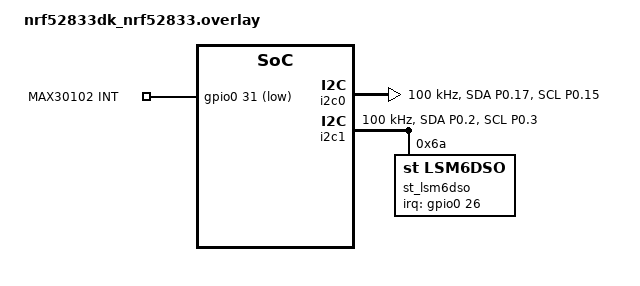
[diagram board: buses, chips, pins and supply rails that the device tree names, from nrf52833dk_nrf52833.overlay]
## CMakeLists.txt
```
cmake_minimum_required(VERSION 3.20.0)
find_package(Zephyr REQUIRED HINTS $ENV{ZEPHYR_BASE})

project(StepTrackerProject)

set(ST_SENSOR_DRIVER_DIR ${ZEPHYR_HAL_ST_MODULE_DIR}/sensor/stmemsc/lsm6dso_STdC/driver)

message(${ST_SENSOR_DRIVER_DIR})

target_sources(app PRIVATE src/main.c
    src/ao_events.h src/ao_events.c
    src/active_object.h src/active_object.c 
    src/ble_ao.h src/ble_ao.c
    src/imu_ao.h src/imu_ao.c
    src/lsm6dso_shim.h src/lsm6dso_shim.c
    src/ble_pedometer_srv.h src/ble_pedometer_srv.c
    src/hrm_ao.h src/hrm_ao.c
    src/max30102.h src/max30102.c
)

target_include_directories(app PRIVATE
    ${ST_SENSOR_DRIVER_DIR}
)
```

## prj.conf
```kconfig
CONFIG_STDOUT_CONSOLE=y
CONFIG_I2C=y
CONFIG_SENSOR=y
CONFIG_LSM6DSO_TRIGGER_GLOBAL_THREAD=y
CONFIG_CBPRINTF_FP_SUPPORT=y
CONFIG_SHELL=y
CONFIG_I2C_SHELL=y
CONFIG_LSM6DSO=y
CONFIG_LOG=y
# CONFIG_ADC=y for future battery pct read

CONFIG_THREAD_NAME=y
CONFIG_MULTITHREADING=y
# CONFIG_THREAD_MONITOR=y
# CONFIG_THREAD_ANALYZER=y
# CONFIG_THREAD_ANALYZER_USE_LOG=y
CONFIG_LOG_THREAD_ID_PREFIX=y


# BLE
CONFIG_BT=y
CONFIG_BT_SMP=y
CONFIG_BT_PERIPHERAL=y
CONFIG_BT_DIS=y
CONFIG_BT_DIS_PNP=n
CONFIG_BT_BAS=y
# CONFIG_BT_HRS=y
CONFIG_BT_DEVICE_NAME="Tas_Pedometer"
CONFIG_BT_DEVICE_APPEARANCE=833
```

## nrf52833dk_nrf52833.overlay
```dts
/{
    aliases {
        imu =  &st_lsm6dso;
    };
    gpios {
        compatible = "gpio-keys";
        max30102_int: max30102_int {
            gpios = <&gpio0 31 (GPIO_ACTIVE_LOW | GPIO_PULL_UP)>;
            label = "MAX30102 INT";
        };
    };
};

&pinctrl {
    i2c0_default: i2c0_default {
        group1 {
            psels = <NRF_PSEL(TWIM_SDA, 0, 17)>,
                    <NRF_PSEL(TWIM_SCL, 0, 15)>;
            bias-pull-up;
        };
    };

    i2c0_sleep: i2c0_sleep {
        group1 {
            psels = <NRF_PSEL(TWIM_SDA, 0, 17)>,
                    <NRF_PSEL(TWIM_SCL, 0, 15)>;
            low-power-enable;
        };
    };
    i2c1_default: i2c1_default {
        group1 {
            psels = <NRF_PSEL(TWIM_SDA, 0, 2)>,
                    <NRF_PSEL(TWIM_SCL, 0, 3)>;
            bias-pull-up;
        };
    };

    i2c1_sleep: i2c1_sleep {
        group1 {
            psels = <NRF_PSEL(TWIM_SDA, 0, 2)>,
                    <NRF_PSEL(TWIM_SCL, 0, 3)>;
            low-power-enable;
        };
    };
};

&i2c0 {
    status = "okay";
    clock-frequency = <I2C_BITRATE_STANDARD>;
    pinctrl-0 = <&i2c0_default>;
    pinctrl-1 = <&i2c0_sleep>;
    pinctrl-names = "default", "sleep";
    compatible = "nordic,nrf-twim";
        
};

&i2c1 {
    status = "okay";
    clock-frequency = <I2C_BITRATE_STANDARD>;
    pinctrl-0 = <&i2c1_default>;
    pinctrl-1 = <&i2c1_sleep>;
    pinctrl-names = "default", "sleep";
    compatible = "nordic,nrf-twim";  
    st_lsm6dso: lsm6dso@6a {
		compatible = "st,lsm6dso";
		reg = <0x6a>;
		status = "okay";
        irq-gpios = <&gpio0 26 GPIO_ACTIVE_HIGH>;
        int-pin = <1>;  
    };
};

&spi0 {
    status="disabled";
};
&spi1 {
    status="disabled";
};
```

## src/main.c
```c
#include <zephyr/kernel.h>
#include "ble_ao.h"
#include "imu_ao.h"
#include "hrm_ao.h"

LOG_MODULE_REGISTER(main, LOG_LEVEL_DBG);

int main(void)
{
    LOG_DBG("Initializing from main.");
    // ble_ao_init();
    // imu_ao_init();
    hrm_ao_init();
	return 0;
}
```

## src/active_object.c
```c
#include "active_object.h"

LOG_MODULE_REGISTER(common_ao, LOG_LEVEL_DBG);

void thread_entry(void *p1, void *p2, void *p3) {
    ARG_UNUSED(p2);
    ARG_UNUSED(p3);
    LOG_INF("Spooling up thread.");
    active_object *ao = (active_object *) p1;
    ao_event evt;
    while (1) {
        k_msgq_get(&ao->queue, &evt, K_FOREVER);
        LOG_DBG("Message rec'd on %s AO thread. Evt ID: %d", k_thread_name_get(k_current_get()), evt.id);
        ao->dispatch(ao, &evt);
    }
}

void active_object_init(active_object *self, dispatch_func dispatch, int thread_prio, k_thread_stack_t *stack, size_t stack_size, uint8_t *buf, size_t queue_msg_size, int id) {
    LOG_INF("Initializing active object.");
    self->dispatch = dispatch;
    k_msgq_init(&self->queue, buf, queue_msg_size, MAX_QUEUE_MSGS);
    k_thread_create(&self->thread, stack, stack_size, &thread_entry, self, NULL, NULL, thread_prio, 0, K_NO_WAIT);
    self->id = id;
}

void ao_post(active_object *self, const ao_event *evt) {
    int ret = k_msgq_put(&self->queue, evt, K_NO_WAIT);
    if (ret != 0) {
        LOG_ERR("Failed to put message for object %s", k_thread_name_get(k_current_get()));
    }
}
```

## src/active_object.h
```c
#pragma once

#include <zephyr/kernel.h>
#include <zephyr/logging/log.h>

#define MAX_QUEUE_MSGS 10


typedef struct active_object_event {
    uint32_t id;
    uint32_t data;
} ao_event;

// function pointer to the active object's internal state machine dispatch func.
typedef void (*dispatch_func)(void *self, ao_event const *evt);

typedef struct active_object {
    int id; 
    k_tid_t tid; // easy access for use in zephyr threading api
    struct k_thread thread;
    struct k_msgq queue;
    dispatch_func dispatch;
    void *self;
} active_object;

void active_object_init(active_object *self,
                        dispatch_func dispatch,
                        int thread_prio,
                        k_thread_stack_t *stack,
                        size_t stack_size,
                        uint8_t *buf,
                        size_t queue_msg_size,
                        int id);

void ao_post(active_object *self, const ao_event *evt);
```

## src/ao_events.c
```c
#include "ao_events.h"

LOG_MODULE_REGISTER(ao_events, LOG_LEVEL_DBG);

static active_object *subscriptions[MAX_EVENTS][MAX_SUBSCRIPTIONS];
static int sub_count[MAX_EVENTS];

void ao_subscribe(active_object *self, ao_event_id evt_id) {
    // keep track of ao that is subscribed to this event.
    LOG_INF("EVENT ID %d", evt_id);
    subscriptions[evt_id][sub_count[evt_id]] = self;
    sub_count[evt_id]++;
}

void ao_unsubscribe(active_object *self, ao_event_id evt_id) {
    int cnt = sub_count[evt_id];
    for (int i = 0; i < cnt; i++) {
        if (subscriptions[evt_id][i] == self) {
            // swap with last and decrement, avoid array resizing.
            subscriptions[evt_id][i] = subscriptions[evt_id][cnt - 1];
            subscriptions[evt_id][cnt - 1] = NULL;
            sub_count[evt_id]--;
            return;
        }
    }
}

void ao_publish(const ao_event *evt) {
    int cnt = sub_count[evt->id];
    for (int i = 0; i < cnt; i++) {
        ao_post(subscriptions[evt->id][i], evt);
    } 
}
```

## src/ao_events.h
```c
#pragma once

#include "active_object.h"

#define MAX_SUBSCRIPTIONS 10

typedef enum {
    IMU_INIT_EVT = 0,
    IMU_DATA_READY,
    BLE_INIT_EVT,
    BLE_START_ADVERTISING_EVT,
    BLE_CONNECTED_EVT,
    BLE_DISCONNECTED_EVT,
    BLE_DATA_READY,
    HRM_INIT_EVT,
    HRM_DATA_READY,
    MAX_EVENTS
} ao_event_id;

typedef struct ao_subscription {
    active_object *ao;
    ao_event_id evt_id;
} ao_subscription_t;

void ao_subscribe(active_object *self, ao_event_id evt_id);
void ao_unsubscribe(active_object *self, ao_event_id evt_id);
void ao_publish(const ao_event *evt_id);
```

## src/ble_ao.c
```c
#include "ble_ao.h"

#define BLE_STACK_SIZE 1024
#define BLE_AO_THREAD_PRIO -1
#define DEV_NAME CONFIG_BT_DEVICE_NAME
#define DEV_NAME_LEN (sizeof(DEV_NAME)-1)

LOG_MODULE_REGISTER(ble_ao, LOG_LEVEL_DBG);

/*
Zephyr BLE Stack Setup
*/

static struct bt_conn *current_conn;

void on_connected(struct bt_conn *conn, uint8_t ret) {
    if (ret) {
        LOG_ERR("Connection error! Retval: %d", ret);
        return;
    }
    LOG_INF("BT Connected!");
    current_conn = bt_conn_ref(conn);
    ao_publish(&(ao_event) { .id = BLE_CONNECTED_EVT, .data = 1 });
}

void on_disconnected(struct bt_conn *conn, uint8_t reason) {
    LOG_INF("BT disconnected (reason: %d)", reason);
    if (current_conn) {
        bt_conn_unref(current_conn);
        current_conn = NULL;
    }
    ao_publish(&(ao_event) { .id = BLE_DISCONNECTED_EVT, .data = 1 });
}

BT_CONN_CB_DEFINE(bt_cbs) = {
    .connected = on_connected,
    .disconnected = on_disconnected
};

static const struct bt_data ad[] = {
    BT_DATA_BYTES(BT_DATA_FLAGS, (BT_LE_AD_GENERAL | BT_LE_AD_NO_BREDR)),
    BT_DATA(BT_DATA_NAME_COMPLETE, DEV_NAME, DEV_NAME_LEN)
};

int start_advertising(void) {
    int err = bt_le_adv_start(BT_LE_ADV_CONN_FAST_1, ad, ARRAY_SIZE(ad), NULL, 0);
    if (err) {
        LOG_ERR("Could not start advertising the device via BLE. Retval: %d", err);
    }
    return err;
}

static void bt_ready_cb(int err) {
    if (err) {
        LOG_ERR("bt_enable failed. Retval: %d", err);
        return;
    }
    ao_publish(&(ao_event) { .id = BLE_START_ADVERTISING_EVT, .data = 1 });
}

/* 
TODO - ADC for Battery voltage
*/


/*
Active Object
*/

K_THREAD_STACK_DEFINE(ble_stack, BLE_STACK_SIZE);
static ble_active_object ble_ao;

static uint8_t queue_buf[sizeof(ao_event) * MAX_QUEUE_MSGS];

void ble_ao_init(void) {
    LOG_INF("Initializing BLE AO.");

    ao_subscribe(&ble_ao.ao, BLE_INIT_EVT);
    ao_subscribe(&ble_ao.ao, BLE_START_ADVERTISING_EVT);
    ao_subscribe(&ble_ao.ao, BLE_CONNECTED_EVT);
    ao_subscribe(&ble_ao.ao, BLE_DISCONNECTED_EVT);
    ao_subscribe(&ble_ao.ao, BLE_DATA_READY);

    ble_ao.state = BLE_UNINITIALIZED_STATE;
    LOG_INF("After initial setting of state %d", ble_ao.state);

    active_object_init(&ble_ao.ao, &ble_ao_dispatch, BLE_AO_THREAD_PRIO, (k_thread_stack_t*)&ble_stack, K_THREAD_STACK_SIZEOF(ble_stack), queue_buf, sizeof(ao_event), 1);
    k_thread_name_set(&ble_ao.ao.thread, "ble_ao");

    ao_publish(&(const ao_event) { .id = BLE_INIT_EVT, .data = 1 });
}


void ble_ao_dispatch(void *self, ao_event const *evt) {
    ble_active_object *ao = (ble_active_object *) self;
    LOG_INF("ble state: %d. Event ID: %d", ao->state, evt->id);
    int err = 0;
    switch(ao->state) {
        case BLE_UNINITIALIZED_STATE:
            switch(evt->id) {
                case BLE_INIT_EVT:
                    err = bt_enable(bt_ready_cb);
                    if (err < 0) {
                        LOG_ERR("Failed to Initialize BT Stack. Err: %d", err);
                        return;
                    }
                    ao->state = BLE_INITIALIZING_STATE;
                    break;
                default:
                    LOG_ERR("Unrecognized event in BLE_UNINITIALIZED_STATE state. Event id: %d", evt->id);
                    break;
            }
            break;
        case BLE_INITIALIZING_STATE:
            switch (evt->id) {
                case BLE_START_ADVERTISING_EVT:
                    err = bt_bas_set_battery_level(100);
                    if (err) {
                        LOG_ERR("BAS set error (err = %d)", err);
                    }
                    err = start_advertising();
                    if (err < 0) {
                        LOG_ERR("Failed to start advertising. Err: %d", err);
                        return;
                    }
                    ao->state = BLE_ADVERTISING_STATE;
                    break;
                case BLE_DATA_READY:
                    LOG_INF("Updating steps");
                    update_steps(evt->data);
                    break;
                default:
                    LOG_ERR("Unrecognized event in BLE_INITIALIZING_STATE state. Event id: %d", evt->id);
            }
            break;
        case BLE_ADVERTISING_STATE:
            switch (evt->id) {
                case BLE_CONNECTED_EVT:
                    ao->state = BLE_CONNECTED_STATE;
                    break;
                case BLE_DATA_READY:
                    LOG_INF("Updating steps");
                    update_steps(evt->data);
                    break;
                default:
                    LOG_ERR("Unrecognized event in BLE_ADVERTISING_STATE state. Event id: %d", evt->id);
            }
            break;
        case BLE_CONNECTED_STATE:
            switch (evt->id) {
                case BLE_DISCONNECTED_EVT:
                    err = start_advertising();
                    if (err < 0) {
                        LOG_ERR("Failed to start advertising. Err: %d", err);
                        return;
                    }
                    ao->state = BLE_ADVERTISING_STATE;
                    break;
                case BLE_DATA_READY:
                    LOG_INF("Updating steps");
                    update_steps(evt->data);
                    break;
                default:
                    LOG_ERR("Unrecognized event in BLE_CONNECTED_STATE state. Event id: %d", evt->id);
            }
            break;
        default: 
            LOG_ERR("Ble AO is not in a valid state. State: %d", ao->state);
    }
}
```

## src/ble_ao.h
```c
#pragma once

#include <zephyr/logging/log.h>
// #include <zephyr/drivers/adc.h> // used for battery voltage
#include "active_object.h"
#include "ao_events.h"
#include "ble_pedometer_srv.h"

typedef enum {
    BLE_UNINITIALIZED_STATE = 1,
    BLE_INITIALIZING_STATE,
    BLE_ADVERTISING_STATE,
    BLE_CONNECTED_STATE
} ble_state;

typedef struct ble_active_object {
    active_object ao;
    int id;
    ble_state state;
    // add other stuff here
} ble_active_object;

void ble_ao_init(void);
void ble_ao_dispatch(void *self, ao_event const *evt);
int start_advertising(void);
```

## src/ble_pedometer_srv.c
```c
#include "ble_pedometer_srv.h"

LOG_MODULE_REGISTER(ble_service, LOG_LEVEL_DBG);

static atomic_t step_count;
static atomic_t cadence_spm;
static uint32_t dummy_buf1;
static uint32_t dummy_buf2;

static atomic_t notify_step_count;
static atomic_t notify_cadence;

static void step_count_ccc_changed_cb(const struct bt_gatt_attr *attr, uint16_t value) {
    atomic_set(&notify_step_count, (value == BT_GATT_CCC_NOTIFY));
}
static void cadence_ccc_changed_cb(const struct bt_gatt_attr *attr, uint16_t value) {
    atomic_set(&notify_cadence, (value == BT_GATT_CCC_NOTIFY));
}

static ssize_t read_step_count(struct bt_conn *conn,
                               const struct bt_gatt_attr *attr,
                               void *buf, uint16_t len, uint16_t offset)
{
    uint32_t steps = (uint32_t)atomic_get(&step_count);
    return bt_gatt_attr_read(conn, attr, buf, len, offset,
                             &steps, sizeof(steps));
}

static ssize_t read_cadence(struct bt_conn *conn,
                             const struct bt_gatt_attr *attr,
                             void *buf, uint16_t len, uint16_t offset)
{
    uint32_t cadence = (uint32_t)atomic_get(&cadence_spm);
    return bt_gatt_attr_read(conn, attr, buf, len, offset,
                             &cadence, sizeof(cadence));
}

BT_GATT_SERVICE_DEFINE(pedometer_service,
	BT_GATT_PRIMARY_SERVICE(BT_UUID_PEDOMETER_SERVICE),
	BT_GATT_CHARACTERISTIC(BT_UUID_STEP_COUNT,
					BT_GATT_CHRC_READ | BT_GATT_CHRC_NOTIFY,
					BT_GATT_PERM_READ,
					read_step_count, NULL, &dummy_buf1),
	BT_GATT_CCC(step_count_ccc_changed_cb, BT_GATT_PERM_READ | BT_GATT_PERM_WRITE),
	BT_GATT_CHARACTERISTIC(BT_UUID_CADENCE,
					BT_GATT_CHRC_READ | BT_GATT_CHRC_NOTIFY,
					BT_GATT_PERM_READ,
					read_cadence, NULL, &dummy_buf2),
	BT_GATT_CCC(cadence_ccc_changed_cb, BT_GATT_PERM_READ | BT_GATT_PERM_WRITE)
);

void ble_pedometer_notify(struct bt_conn *conn, uint32_t steps, uint16_t cadence) {
    atomic_set(&step_count, (atomic_val_t)steps);
    atomic_set(&cadence_spm, (atomic_val_t)cadence);

    if (!(bool)atomic_get(&notify_step_count) || !conn) {
        return;
    }
    LOG_WRN("Notifying steps, %d", steps);
    // attrs[2] = step count characteristic
    int err = bt_gatt_notify(conn,
                             &pedometer_service.attrs[2],
                             &steps,
                             sizeof(steps));
    if (err) {
        LOG_WRN("Step notify failed (err %d)", err);
    }
    if (!(bool)atomic_get(&notify_cadence) || !conn) {
        return;
    }
    // attrs[5] = cadence characteristic
    err = bt_gatt_notify(conn,
                   &pedometer_service.attrs[5],
                   &cadence,
                   sizeof(cadence));
    if (err) {
        LOG_WRN("Cadence notify failed (err %d)", err);
    }
}

// keep steps up to date, regardless of whether we are notifying or not.
void update_steps(uint32_t steps) {
    atomic_set(&step_count, (atomic_val_t)steps);
}

void update_cadence(uint32_t cadence) {
    atomic_set(&cadence_spm, (atomic_val_t)cadence);
}
```

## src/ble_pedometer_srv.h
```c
#pragma once

#include <zephyr/kernel.h>
#include <zephyr/bluetooth/bluetooth.h>
#include <zephyr/bluetooth/hci.h>
#include <zephyr/bluetooth/conn.h>
#include <zephyr/bluetooth/uuid.h>
#include <zephyr/bluetooth/gatt.h>
#include <zephyr/bluetooth/services/bas.h>
// #include <zephyr/bluetooth/services/hrs.h>
#include <zephyr/logging/log.h>
#include <zephyr/sys/atomic.h>

// service UUID
#define BT_UUID_PEDOMETER_VALUE BT_UUID_128_ENCODE(0x7387ecd8, 0x012b, 0x4e95, 0x93b9, 0x995d1244b057)

// Step count characteristic
#define BT_UUID_STEP_COUNT_VALUE BT_UUID_128_ENCODE(0x5d6029fc, 0x6696, 0x4232, 0x8e7e, 0x73272edde04d)

// Cadence characteristic
#define BT_UUID_CADENCE_VALUE BT_UUID_128_ENCODE(0x76a115e1, 0x8774, 0x4c1b, 0xb305, 0x69efcc2ab8c6)

#define BT_UUID_PEDOMETER_SERVICE   BT_UUID_DECLARE_128(BT_UUID_PEDOMETER_VALUE)
#define BT_UUID_STEP_COUNT          BT_UUID_DECLARE_128(BT_UUID_STEP_COUNT_VALUE)
#define BT_UUID_CADENCE             BT_UUID_DECLARE_128(BT_UUID_CADENCE_VALUE)

void ble_pedometer_notify(struct bt_conn *conn, uint32_t steps, uint16_t cadence);
void update_steps(uint32_t steps);
void update_cadence(uint32_t cadence);
```

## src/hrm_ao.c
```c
#include "hrm_ao.h"

#define HRM_STACK_SIZE 1024
#define HRM_AO_THREAD_PRIO 1

LOG_MODULE_REGISTER(hrm_ao, LOG_LEVEL_DBG);

K_THREAD_STACK_DEFINE(hrm_stack, HRM_STACK_SIZE);
static hrm_active_object hrm_ao;

static uint8_t queue_buf[sizeof(ao_event) * MAX_QUEUE_MSGS];

static uint32_t red_data[MAX_SAMPLES];
static uint32_t ir_data[MAX_SAMPLES];
static uint8_t counted_samples = 0;

void hrm_ao_init(void) {
    LOG_INF("Initializing HRM AO.");

    ao_subscribe(&hrm_ao.ao, HRM_INIT_EVT);
    ao_subscribe(&hrm_ao.ao, HRM_DATA_READY);
    hrm_ao.state = HRM_INIT;

    active_object_init(&hrm_ao.ao, &hrm_ao_dispatch, HRM_AO_THREAD_PRIO, (k_thread_stack_t*)&hrm_stack, K_THREAD_STACK_SIZEOF(hrm_stack), queue_buf, sizeof(ao_event), 1);
    k_thread_name_set(&hrm_ao.ao.thread, "hrm_ao");

    ao_publish(&(const ao_event) { .id = HRM_INIT_EVT, .data = 1 });
}

void hrm_ao_dispatch(void *self, ao_event const *evt) {
    hrm_active_object *ao = (hrm_active_object *) self;
    int err = 0;
    switch(ao->state) {
        case HRM_INIT:
            switch (evt->id) {
                case HRM_INIT_EVT:
                    LOG_INF("Initializing HRM.");
                    max30102_init();
                    if (err < 0) {
                        LOG_ERR("Failed to initialize INT1");
                        return;
                    }
                    ao->state = HRM_ACQUIRE;
                    break;
                default:
                    break;
            }
            break;
        case HRM_ACQUIRE:
            switch (evt->id) {
                case HRM_DATA_READY:
                    LOG_INF("DATA READY!");
                    max30102_get_fifo(red_data, ir_data, &counted_samples);
                    LOG_INF("Just read data. Samples counted: %d", counted_samples);
                    for (int i = 0; i < counted_samples; ++i) {
                        LOG_INF("FIFO Data. Red: %d, IR: %d, position %d", red_data[i], ir_data[i], i);
                    }
                    break;
                default:
                    break;
            }
            break;
        default: 
            LOG_ERR("HRM AO is not in a valid state. State: %d", ao->state);
    }
}
```

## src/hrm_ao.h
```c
#pragma once

#include <zephyr/drivers/gpio.h>
#include <zephyr/logging/log.h>
#include <zephyr/drivers/i2c.h>
#include "active_object.h"
#include "ao_events.h"
#include "max30102.h"

typedef enum {
    HRM_INIT = 1,
    HRM_ACQUIRE,
} hrm_state;

typedef struct hrm_active_object {
    active_object ao;
    int id;
    hrm_state state;
    // add other stuff here
} hrm_active_object;

void hrm_ao_init(void);
void hrm_ao_dispatch(void *self, ao_event const *evt);
```

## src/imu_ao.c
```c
#include "imu_ao.h"

#define IMU_STACK_SIZE 1024
#define IMU_AO_THREAD_PRIO 1

LOG_MODULE_REGISTER(imu_ao, LOG_LEVEL_DBG);

K_THREAD_STACK_DEFINE(imu_stack, IMU_STACK_SIZE);
static imu_active_object imu_ao;

static uint8_t queue_buf[sizeof(ao_event) * MAX_QUEUE_MSGS];

static const struct gpio_dt_spec int1_gpio = GPIO_DT_SPEC_GET(DT_NODELABEL(st_lsm6dso), irq_gpios);
static struct gpio_callback int1_cb;

static void int1_isr(const struct device *port, struct gpio_callback *cb, gpio_port_pins_t pins) {
    static const ao_event evt = { .id = IMU_DATA_READY, .data = 0 };
    ao_publish(&evt);
}

// set up the INT1 gpio
int init_int1_isr(void) {
    int err = 0;
    err = gpio_pin_configure_dt(&int1_gpio, GPIO_INPUT);
    if (err < 0) {
        LOG_ERR("Error configuring INT1 as input. Error: %d", err);
        return err;
    }
    err = gpio_pin_interrupt_configure_dt(&int1_gpio, GPIO_INT_EDGE_RISING);
    if (err < 0) {
        LOG_ERR("Error configuring interrupt. Error: %d", err);
        return err;
    }
    gpio_init_callback(&int1_cb, int1_isr, BIT(int1_gpio.pin));
    err = gpio_add_callback_dt(&int1_gpio, &int1_cb);
    if (err < 0) {
        LOG_ERR("Error adding callback to INT1. Error: %d", err);
        return err;
    }
    return 0;
}

void imu_ao_init(void) {
    LOG_INF("Initializing IMU AO.");

    ao_subscribe(&imu_ao.ao, IMU_INIT_EVT);
    ao_subscribe(&imu_ao.ao, IMU_DATA_READY);
    imu_ao.state = IMU_INIT;

    active_object_init(&imu_ao.ao, &imu_ao_dispatch, IMU_AO_THREAD_PRIO, (k_thread_stack_t*)&imu_stack, K_THREAD_STACK_SIZEOF(imu_stack), queue_buf, sizeof(ao_event), 1);
    k_thread_name_set(&imu_ao.ao.thread, "imu_ao");

    ao_publish(&(const ao_event) { .id = IMU_INIT_EVT, .data = 1 });
}


void imu_ao_dispatch(void *self, ao_event const *evt) {
    imu_active_object *ao = (imu_active_object *) self;
    // LOG_INF("imu state: %d", ao->state);
    int err = 0;
    switch(ao->state) {
        case IMU_INIT:
            switch (evt->id) {
                case IMU_INIT_EVT:
                    LOG_INF("Initializing IMU.");
                    err = init_int1_isr();
                    if (err < 0) {
                        LOG_ERR("Failed to initialize INT1");
                        return;
                    }
                    err = pedometer_init();
                    if (err < 0) {
                        LOG_ERR("Failed to initialize INT1");
                        return;
                    }
                    ao->state = IMU_ACQUIRE;
                    break;
                default:
                    break;
            }
            break;
        case IMU_ACQUIRE:
            switch (evt->id) {
                case IMU_DATA_READY:
                    LOG_INF("IMU DATA READY");
                    int steps = read_step_counter();
                    LOG_INF("Steps: %d", steps);
                    if (steps < 0) {
                        LOG_ERR("Failed to read steps. Error %d", steps);
                        return;
                    }
                    ao_publish(&(ao_event){ .id = BLE_DATA_READY, .data = steps});
                    break;
                default:
                    break;
            }
            break;
        default: 
            LOG_ERR("IMU AO is not in a valid state. State: %d", ao->state);
    }
}
```

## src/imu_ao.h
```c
#pragma once

#include <zephyr/drivers/gpio.h>
#include <zephyr/logging/log.h>
#include "active_object.h"
#include "ao_events.h"
#include "lsm6dso_shim.h"

typedef enum {
    IMU_INIT = 1,
    IMU_ACQUIRE,
} imu_state;

typedef struct imu_active_object {
    active_object ao;
    int id;
    imu_state state;
    // add other stuff here
} imu_active_object;

void imu_ao_init(void);
void imu_ao_dispatch(void *self, ao_event const *evt);
```
